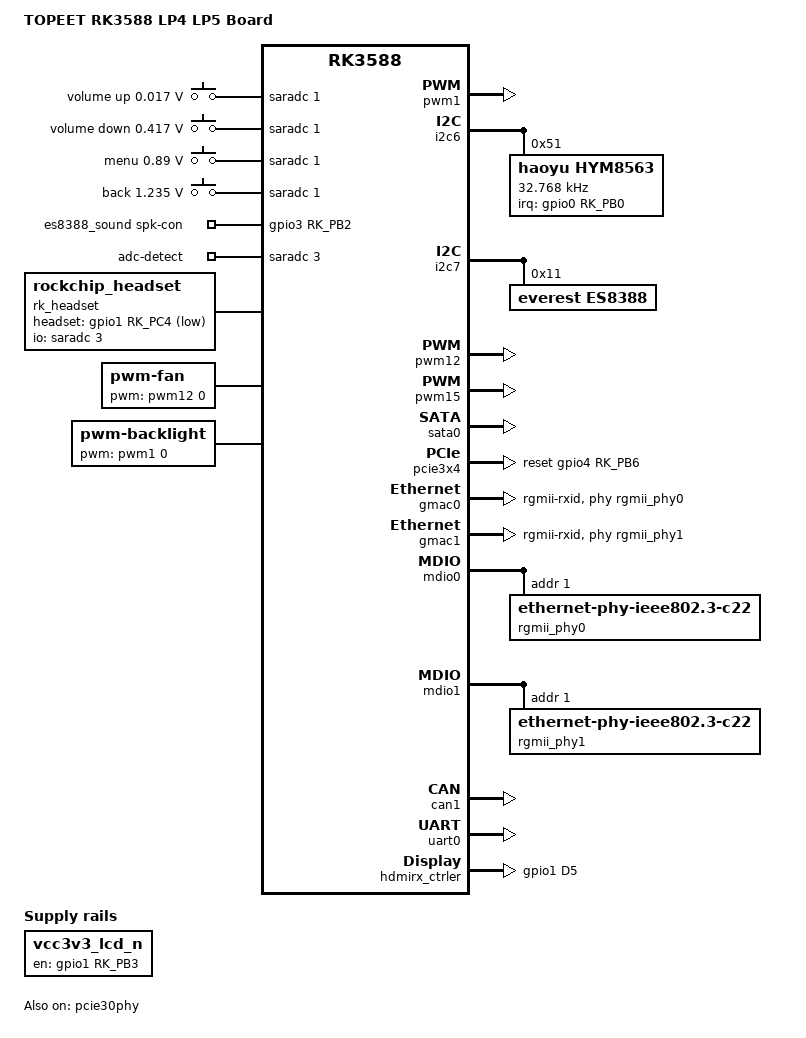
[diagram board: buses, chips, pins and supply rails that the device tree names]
/dts-v1/;

#include "topeet-rk3588-linux.dtsi"
#include "rk3588-linux.dtsi"
/ {
	model = "TOPEET RK3588 LP4 LP5 Board";
	compatible = "rockchip,rk3588-evb3-lp5-v10", "rockchip,rk3588";

        /* If hdmirx node is disabled, delete the reserved-memory node here. */
        reserved-memory {
                #address-cells = <2>;
                #size-cells = <2>;
                ranges;

                /* Reserve 128MB memory for hdmirx-controller@fdee0000 */
                cma {
                        compatible = "shared-dma-pool";
                        reusable;
                        reg = <0x0 (256 * 0x100000) 0x0 (128 * 0x100000)>;
                        linux,cma-default;
                };
        };

    //ADC按键
    adc_keys: adc-keys {
        compatible = "adc-keys";
        io-channels = <&saradc 1>;
        io-channel-names = "buttons";
        keyup-threshold-microvolt = <1800000>;
        poll-interval = <100>;

        vol-up-key {
            label = "volume up";
            linux,code = <KEY_VOLUMEUP>;
            press-threshold-microvolt = <17000>;
        };

        vol-down-key {
            label = "volume down";
            linux,code = <KEY_VOLUMEDOWN>;
            press-threshold-microvolt = <417000>;
        };

        menu-key {
            label = "menu";
            linux,code = <KEY_MENU>;
            press-threshold-microvolt = <890000>;
        };

        back-key {
            label = "back";
            linux,code = <KEY_BACK>;
            press-threshold-microvolt = <1235000>;
        };
    };

    //es8388声卡
	es8388_sound: es8388-sound {
		status = "okay";
		compatible = "rockchip,multicodecs-card";
		rockchip,card-name = "rockchip-es8388";
		//hp-det-gpio = <&gpio1 RK_PC4 GPIO_ACTIVE_LOW>;
		io-channels = <&saradc 3>;
		io-channel-names = "adc-detect";
		keyup-threshold-microvolt = <1800000>;
		poll-interval = <100>;
		spk-con-gpio = <&gpio3 RK_PB2 GPIO_ACTIVE_HIGH>;
		// hp-con-gpio = <&gpio1 RK_PD2 GPIO_ACTIVE_HIGH>;
		rockchip,format = "i2s";
		rockchip,mclk-fs = <256>;
		rockchip,cpu = <&i2s0_8ch>;
		rockchip,codec = <&es8388>;
		rockchip,audio-routing =
			"Headphone", "LOUT1",
			"Headphone", "ROUT1",
			"Speaker", "LOUT2",
			"Speaker", "ROUT2",
			"Headphone", "Headphone Power",
			"Headphone", "Headphone Power",
			"Speaker", "Speaker Power",
			"Speaker", "Speaker Power",
			"LINPUT1", "Main Mic",
			"LINPUT2", "Main Mic",
			"RINPUT1", "Headset Mic",
			"RINPUT2", "Headset Mic";
		pinctrl-names = "default";
		play-pause-key {
			label = "playpause";
			linux,code = <KEY_PLAYPAUSE>;
			press-threshold-microvolt = <2000>;
		};
	};

	//耳机插入检测
        rk_headset: rk-headset {
                status = "okay";
                compatible = "rockchip_headset";
                headset_gpio = <&gpio1 RK_PC4 GPIO_ACTIVE_LOW>;
                pinctrl-names = "default";
                pinctrl-0 = <&hp_det>;
                io-channels = <&saradc 3>;
        };    

    //风扇
	fan: pwm-fan {
		compatible = "pwm-fan";
		#cooling-cells = <2>;
		pwms = <&pwm12 0 50000 0>;
		cooling-levels = <0 50 100 150 200 255>;
		rockchip,temp-trips = <
			50000	1
			55000	2
			60000	3
			65000	4
			70000	5
		>;
	};

    //屏幕3.3V供电
	vcc3v3_lcd_n: vcc3v3-lcd0-n {
		compatible = "regulator-fixed";
		regulator-name = "vcc3v3_lcd0_n";
		regulator-boot-on;
		enable-active-high;
		gpio = <&gpio1 RK_PB3 GPIO_ACTIVE_HIGH>;
	};

        //屏幕背光
        backlight: backlight {
                compatible = "pwm-backlight";
                brightness-levels = <
                          0  20  20  21  21  22  22  23
                         23  24  24  25  25  26  26  27
                         27  28  28  29  29  30  30  31
                         31  32  32  33  33  34  34  35
                         35  36  36  37  37  38  38  39
                         40  41  42  43  44  45  46  47
                         48  49  50  51  52  53  54  55
                         56  57  58  59  60  61  62  63
                         64  65  66  67  68  69  70  71
                         72  73  74  75  76  77  78  79
                         80  81  82  83  84  85  86  87
                         88  89  90  91  92  93  94  95
                         96  97  98  99 100 101 102 103
                        104 105 106 107 108 109 110 111
                        112 113 114 115 116 117 118 119
                        120 121 122 123 124 125 126 127
                        128 129 130 131 132 133 134 135
                        136 137 138 139 140 141 142 143
                        144 145 146 147 148 149 150 151
                        152 153 154 155 156 157 158 159
                        160 161 162 163 164 165 166 167
                        168 169 170 171 172 173 174 175
                        176 177 178 179 180 181 182 183
                        184 185 186 187 188 189 190 191
                        192 193 194 195 196 197 198 199
                        200 201 202 203 204 205 206 207
                        208 209 210 211 212 213 214 215
                        216 217 218 219 220 221 222 223
                        224 225 226 227 228 229 230 231
                        232 233 234 235 236 237 238 239
                        240 241 242 243 244 245 246 247
                        248 249 250 251 252 253 254 255
                >;
                default-brightness-level = <200>;
        };
};

//屏幕 PWM背光使能
&backlight {
        pwms = <&pwm1 0 25000 0>;
        status = "okay";
};

&pwm1 {
        status = "okay";
};

&i2c6{
    //RTC实时时钟
	hym8563: hym8563@51 {
		compatible = "haoyu,hym8563";
		reg = <0x51>;
		#clock-cells = <0>;
		clock-frequency = <32768>;
		clock-output-names = "hym8563";
		pinctrl-names = "default";
		pinctrl-0 = <&hym8563_int>;
		interrupt-parent = <&gpio0>;
		interrupts = <RK_PB0 IRQ_TYPE_LEVEL_LOW>;
		wakeup-source;
	};   
};

&i2c7 {
	status = "okay";

    //es8388声卡
	es8388: es8388@11 {
		status = "okay";
		#sound-dai-cells = <0>;
		compatible = "everest,es8388", "everest,es8323";
		reg = <0x11>;
		clocks = <&mclkout_i2s0>;
		clock-names = "mclk";
		assigned-clocks = <&mclkout_i2s0>;
		assigned-clock-rates = <12288000>;
		pinctrl-names = "default";
		pinctrl-0 = <&i2s0_mclk>;
	};
};

//fan
&pwm12 {
    status = "okay";
    pinctrl-0 = <&pwm12m1_pins>;
};

//蜂鸣器
&pwm15 {
    status = "okay";
    pinctrl-0 = <&pwm15m2_pins>;
};

//sata硬盘
&sata0 {
	status = "okay";
};

//nvme固态硬盘
&pcie30phy {
        rockchip,pcie30-phymode = <PHY_MODE_PCIE_NANBNB>;
        status = "okay";
};

&pcie3x4 {
        reset-gpios = <&gpio4 RK_PB6 GPIO_ACTIVE_HIGH>;
        status = "okay";
};

//有线网卡配置
&gmac0 {
        /* Use rgmii-rxid mode to disable rx delay inside Soc */
        phy-mode = "rgmii-rxid";
        clock_in_out = "output";

        snps,reset-active-low;
        /* Reset time is 20ms, 100ms for rtl8211f */
        snps,reset-delays-us = <0 20000 100000>;

        pinctrl-names = "default";
        pinctrl-0 = <&gmac0_miim
                     &gmac0_tx_bus2
                     &gmac0_rx_bus2
                     &gmac0_rgmii_clk
                     &gmac0_rgmii_bus>;
        tx_delay = <0x44>;
        /* rx_delay = <0x4f>; */

        phy-handle = <&rgmii_phy0>;
        status = "okay";
};

&gmac1 {
        /* Use rgmii-rxid mode to disable rx delay inside Soc */
        phy-mode = "rgmii-rxid";
        clock_in_out = "output";

        snps,reset-active-low;
        /* Reset time is 20ms, 100ms for rtl8211f */
        snps,reset-delays-us = <0 20000 100000>;

        pinctrl-names = "default";
        pinctrl-0 = <&gmac1_miim
                     &gmac1_tx_bus2
                     &gmac1_rx_bus2
                     &gmac1_rgmii_clk
                     &gmac1_rgmii_bus>;

        tx_delay = <0x43>;
        /* rx_delay = <0x3f>; */

        phy-handle = <&rgmii_phy1>;
        status = "okay";
};
&mdio0 {
        rgmii_phy0: phy@1 {
                compatible = "ethernet-phy-ieee802.3-c22";
                reg = <0x1>;
        };
};

&mdio1 {
        rgmii_phy1: phy@1 {
                compatible = "ethernet-phy-ieee802.3-c22";
                reg = <0x1>;
        };
};

//can
&can1 {
        status = "okay";
        compatible = "rockchip,can-2.0"; //使用can
        pinctrl-0 = <&can1m1_pins>;
        assigned-clocks = <&cru CLK_CAN1>;
        assigned-clock-rates = <100000000>;
};

//485
&uart0 {
        status = "okay";
        pinctrl-names = "default";
        pinctrl-0 = <&uart0m2_xfer>;
};

//HDMIIN
&hdmirx_ctrler {
        status = "okay";

        /* Effective level used to trigger HPD: 0-low, 1-high */
        hpd-trigger-level = <1>;
        hdmirx-det-gpios = <&gpio1 RK_PD5 GPIO_ACTIVE_LOW>;
        pinctrl-names = "default";
        pinctrl-0 = <&hdmim1_rx &hdmirx_det>;
};

&pinctrl {
 	hym8563 {
		hym8563_int: hym8563-int {
			rockchip,pins = <0 RK_PB0 RK_FUNC_GPIO &pcfg_pull_up>;
		};
	}; 

	headphone {
		hp_det: hp-det {
			rockchip,pins = <1 RK_PC4 RK_FUNC_GPIO &pcfg_pull_none>;
		};
	};

        hdmi {
                hdmirx_det: hdmirx-det {
                        rockchip,pins = <1 RK_PD5 RK_FUNC_GPIO &pcfg_pull_up>;
                };
        };

};

